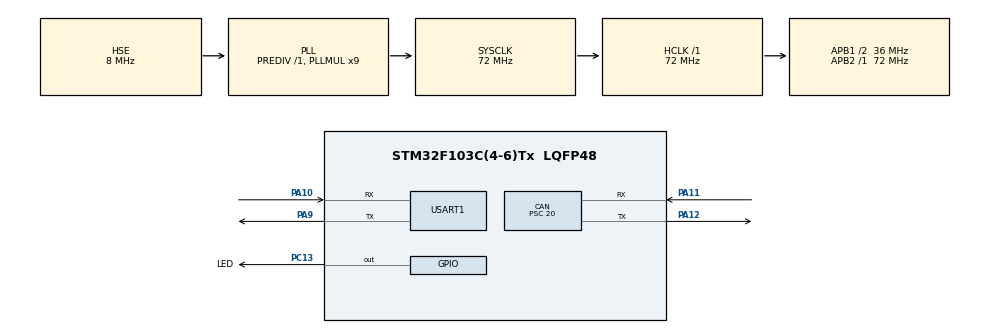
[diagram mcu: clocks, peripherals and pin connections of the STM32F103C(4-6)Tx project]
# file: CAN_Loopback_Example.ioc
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CAN.ABOM=ENABLE
CAN.BS1=CAN_BS1_14TQ
CAN.BS2=CAN_BS2_1TQ
CAN.CalculateBaudRate=112500
CAN.CalculateTimeBit=8888
CAN.CalculateTimeQuantum=555.5555555555555
CAN.Mode=CAN_MODE_NORMAL
CAN.Prescaler=20
Mcu.Family=STM32F1
Mcu.Name=STM32F103C(4-6)Tx
Mcu.Package=LQFP48
NVIC.CAN1_RX1_IRQn=true\:0\:0\:false\:false\:true\:true\:true\:true
NVIC.PriorityGroup=NVIC_PRIORITYGROUP_4
NVIC.TIM2_IRQn=true\:0\:0\:false\:false\:true\:true\:true\:true
NVIC.USART1_IRQn=true\:0\:0\:false\:false\:true\:true\:true\:true
NVIC.USB_LP_CAN1_RX0_IRQn=true\:0\:0\:false\:false\:true\:true\:true\:true
PA10.Mode=Asynchronous
PA10.Signal=USART1_RX
PA11.Mode=CAN_Activate
PA11.Signal=CAN_RX
PA12.Mode=CAN_Activate
PA12.Signal=CAN_TX
PA13.Mode=Serial_Wire
PA13.Signal=SYS_JTMS-SWDIO
PA14.Mode=Serial_Wire
PA14.Signal=SYS_JTCK-SWCLK
PA9.Mode=Asynchronous
PA9.Signal=USART1_TX
PC13-TAMPER-RTC.GPIO_Label=LED
PC13-TAMPER-RTC.Signal=GPIO_Output
PD0-OSC_IN.Mode=HSE-External-Oscillator
PD0-OSC_IN.Signal=RCC_OSC_IN
PD1-OSC_OUT.Mode=HSE-External-Oscillator
PD1-OSC_OUT.Signal=RCC_OSC_OUT
ProjectManager.HeapSize=0x200
ProjectManager.StackSize=0x400
ProjectManager.TargetToolchain=STM32CubeIDE
RCC.AHBFreq_Value=72000000
RCC.APB1CLKDivider=RCC_HCLK_DIV2
RCC.APB1Freq_Value=36000000
RCC.APB1TimFreq_Value=72000000
RCC.APB2Freq_Value=72000000
RCC.APB2TimFreq_Value=72000000
RCC.HCLKFreq_Value=72000000
RCC.PLLMUL=RCC_PLL_MUL9
RCC.PLLSourceVirtual=RCC_PLLSOURCE_HSE
RCC.SYSCLKFreq_VALUE=72000000
RCC.SYSCLKSource=RCC_SYSCLKSOURCE_PLLCLK
RCC.USBFreq_Value=48000000
RCC.USBPrescaler=RCC_USBCLKSOURCE_PLL_DIV1_5
TIM2.AutoReloadPreload=TIM_AUTORELOAD_PRELOAD_ENABLE
TIM2.Period=3600-1
TIM2.Prescaler=1000-1
TIM2.TIM_MasterOutputTrigger=TIM_TRGO_RESET
USART1.VirtualMode=VM_ASYNC
VP_TIM2_VS_ClockSourceINT.Mode=Internal
board=custom

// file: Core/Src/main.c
/* USER CODE BEGIN Header */
/**
  ******************************************************************************
  * @file           : main.c
  * @brief          : Main program body
  ******************************************************************************
  * @attention
  *
  * Copyright (c) 2023 STMicroelectronics.
  * All rights reserved.
  *
  * This software is licensed under terms that can be found in the LICENSE file
  * in the root directory of this software component.
  * If no LICENSE file comes with this software, it is provided AS-IS.
  *
  ******************************************************************************
  */
/* USER CODE END Header */
#include "main.h"

/* USER CODE BEGIN Includes */
#include <stdio.h>
#include <stdlib.h>
#include <string.h>

/* USER CODE END Includes */

CAN_HandleTypeDef hcan;

TIM_HandleTypeDef htim2;

UART_HandleTypeDef huart1;

/* USER CODE BEGIN PV */
//const float slope1 = 0.0476;
const float slope1 = 0.2343;
const float slope2 = 0.0472;
const float slope3 = 0.0470;
const float slope4 = 0.0467;
const float slope5 = 1;
const float slope6 = 1;
const float slope7 = 1;
const float slope8 = 1;

//const float offset1 = -126.46;
const float offset1 = -636.22;
const float offset2 = -127.09;
const float offset3 = -124.65;
const float offset4 = -131.54;
const float offset5 = 0;
const float offset6 = 0;
const float offset7 = 0;
const float offset8 = 0;

/* USER CODE END PV */

void SystemClock_Config(void);
static void MX_GPIO_Init(void);
static void MX_CAN_Init(void);
static void MX_USART1_UART_Init(void);
static void MX_TIM2_Init(void);
/* USER CODE BEGIN PFP */
void HAL_CAN_RxFifo0MsgPendingCallback(CAN_HandleTypeDef *hcan);
void HAL_UART_RxCpltCallback(UART_HandleTypeDef *huart);
void HAL_TIM_PeriodElapsedCallback(TIM_HandleTypeDef* htim);

/* USER CODE END PFP */

/* USER CODE BEGIN 0 */
//Control Flags
uint8_t CanMsgInFlag = RESET;
uint8_t CanDataFlag1 = RESET;
uint8_t CanDataFlag2 = RESET;

uint8_t CanDataRqFlag = RESET;

uint8_t usartDataInFlag = RESET;

//CAN MSG Buffers
CAN_TxHeaderTypeDef TxHeader;
CAN_TxHeaderTypeDef TxHeaderData;

CAN_RxHeaderTypeDef RxHeader;

uint32_t TxMailbox;

uint8_t TxData[8]= {0};
uint8_t RxData[8] = {0};

uint8_t count = 0;

//USART Buffers
//Transmission Buffer
uint8_t usartBuff[64]= {'\0'};
uint8_t usartRxBuff[64]= {'\0'};
//Processing Buffers
uint16_t dataBuff1[4];
int16_t *signedBuff1 = dataBuff1;
uint16_t dataBuff2[4];
uint8_t dataPrep[8];
uint8_t emptyFrame[8];

// Safety timeout
uint16_t timCount = 0;

/* USER CODE END 0 */

int main(void)
{

  /* MCU Configuration--------------------------------------------------------*/

  /* Reset of all peripherals, Initializes the Flash interface and the Systick. */
  HAL_Init();

  /* Configure the system clock */
  SystemClock_Config();

  /* Initialize all configured peripherals */
  MX_GPIO_Init();
  MX_CAN_Init();
  MX_USART1_UART_Init();
  MX_TIM2_Init();
  /* USER CODE BEGIN 2 */

  //start timer request interrupt
  HAL_TIM_Base_Start_IT(&htim2);

  //Start the CAN peripheral
  HAL_CAN_Start(&hcan);

  //Start notification and set to interrupt on pending message
  HAL_CAN_ActivateNotification(&hcan, CAN_IT_RX_FIFO0_MSG_PENDING);

  //Set Arbitration and COntrol Fields of the TxField
  TxHeader.DLC = 8; 			//Specify length of data being sent (here 8 bytes)
  TxHeader.ExtId = 0; 			//Not using Extended ID
  TxHeader.IDE = CAN_ID_STD;	//Specify identifier type: std or extended (Here std)
  TxHeader.RTR = CAN_RTR_DATA; 	//Specify if sending data or remote frame (here data)
  TxHeader.StdId = 0x103; 		//ID for the CAN peripheral used for filtering (up to 11bit wide)
  TxHeader.TransmitGlobalTime = DISABLE; //Not used

  //Set Arbitration and COntrol Fields of the TxField
  TxHeaderData.DLC = 0; 			//Specify length of data being sent (here 8 bytes)
  TxHeaderData.ExtId = 0; 			//Not using Extended ID
  TxHeaderData.IDE = CAN_ID_STD;	//Specify identifier type: std or extended (Here std)
  TxHeaderData.RTR = CAN_RTR_DATA; 	//Specify if sending data or remote frame (here data)
  TxHeaderData.StdId = 0x070; 		//ID for the CAN peripheral used for filtering (up to 11bit wide)
  TxHeaderData.TransmitGlobalTime = DISABLE; //Not used

  //Data to send via CAN
  /*
  dataBuff[0] = 1;
  dataBuff[1] = 22;
  dataBuff[2] = 333;
  dataBuff[3] = 4095;

  memcpy(TxData, dataBuff, 8);
	*/
  //Start UART Interrupt
  HAL_UART_Receive_IT(&huart1, usartRxBuff, 9);

  /* USER CODE END 2 */

  /* Infinite loop */
  /* USER CODE BEGIN WHILE */
  HAL_GPIO_WritePin(GPIOC, GPIO_PIN_13, SET);
  while (1)
  {
	//send the message (Should be received in the RxFifo0)
	if(usartDataInFlag){
		for(uint8_t i = 0; i<8; i++){
//			if(usartRxBuff[i]>='1' && usartRxBuff[i] <= '9') {
//				TxData[i] = (uint8_t) (usartRxBuff[i]-'0');
//			}
//			else {TxData[i] = 0;}
			TxData[i] = usartRxBuff[i]; // NF 11/16
		}

		HAL_CAN_AddTxMessage(&hcan, &TxHeader, TxData, &TxMailbox);
		usartDataInFlag = RESET;
		//clean up
		memset(usartRxBuff,'\0', 16);
		HAL_UART_Receive_IT(&huart1, usartRxBuff, 9);
	}
	if(CanMsgInFlag){
		//sprintf((char *)&usartBuff, "Toggle PIN%d %d\n", (int)dataPrep[0], (int)dataPrep[1]);
		sprintf((char * ) &usartBuff, "PS%i%i%i%i%i%i%i%i%i\n",
			  (int) (dataPrep[0] & (0x1 << 0)),
			  (int) (dataPrep[0] & (0x1 << 1)),
			  (int) (dataPrep[1]),
			  (int) (dataPrep[2]),
			  (int) (dataPrep[3]),
			  (int) (dataPrep[4]),
			  (int) (dataPrep[5]),
			  (int) (dataPrep[6]),
			  (int) (dataPrep[7])
		);
		HAL_UART_Transmit(&huart1, (unsigned char *)usartBuff, strlen((char *)usartBuff), HAL_MAX_DELAY);
		memset((char *)usartBuff, '\0', strlen((char *)usartBuff));
		CanMsgInFlag = RESET;
		timCount = 0;
	}
	/*sprintf((char *)&usartBuff, "%d %d %d %d %d\n", CanMsgInFlag, CanDataFlag1, CanDataFlag2, CanDataRqFlag, usartDataInFlag);
	HAL_UART_Transmit(&huart1, (unsigned char *)usartBuff, strlen((char *)usartBuff), HAL_MAX_DELAY);

	memset((char *)usartBuff, '\0', strlen((char *)usartBuff));
	*/
	if(CanDataFlag1 && CanDataFlag2){

			sprintf((char *)&usartBuff, "%4i, %4i, %4i, %4i, %4i, %4i, %4i, %4i\n", (int)(slope1 * (float)signedBuff1[0] + offset1),(int)(slope2 * (float)signedBuff1[1]+offset2),(int)(slope3 * (float)signedBuff1[2]+offset3),(int)(slope4* (float)signedBuff1[3] + offset4), (int)(slope5 * dataBuff2[0]+ offset5),(int)(slope6 *dataBuff2[1] + offset6),(int)(slope7 * dataBuff2[2] +offset7),(int)(slope8 * dataBuff2[3]+offset8));
			HAL_UART_Transmit(&huart1, (unsigned char *)usartBuff, strlen((char *)usartBuff), HAL_MAX_DELAY);
			memset((char *)usartBuff, '\0', strlen((char *)usartBuff));
			CanDataFlag1 = RESET;
			CanDataFlag2 = RESET;

			HAL_GPIO_TogglePin(GPIOC, GPIO_PIN_13);
	}
	if(CanDataRqFlag) {

		HAL_CAN_AddTxMessage(&hcan, &TxHeaderData, emptyFrame, &TxMailbox);

		CanDataRqFlag = RESET;

	}

	if (timCount > 60000) {

		NVIC_SystemReset();
	}

    /* USER CODE END WHILE */

  }
}

void SystemClock_Config(void)
{
  RCC_OscInitTypeDef RCC_OscInitStruct = {0};
  RCC_ClkInitTypeDef RCC_ClkInitStruct = {0};

  /** Initializes the RCC Oscillators according to the specified parameters
  * in the RCC_OscInitTypeDef structure.
  */
  RCC_OscInitStruct.OscillatorType = RCC_OSCILLATORTYPE_HSE;
  RCC_OscInitStruct.HSEState = RCC_HSE_ON;
  RCC_OscInitStruct.HSEPredivValue = RCC_HSE_PREDIV_DIV1;
  RCC_OscInitStruct.HSIState = RCC_HSI_ON;
  RCC_OscInitStruct.PLL.PLLState = RCC_PLL_ON;
  RCC_OscInitStruct.PLL.PLLSource = RCC_PLLSOURCE_HSE;
  RCC_OscInitStruct.PLL.PLLMUL = RCC_PLL_MUL9;
  if (HAL_RCC_OscConfig(&RCC_OscInitStruct) != HAL_OK)
  {
    Error_Handler();
  }

  /** Initializes the CPU, AHB and APB buses clocks
  */
  RCC_ClkInitStruct.ClockType = RCC_CLOCKTYPE_HCLK|RCC_CLOCKTYPE_SYSCLK
                              |RCC_CLOCKTYPE_PCLK1|RCC_CLOCKTYPE_PCLK2;
  RCC_ClkInitStruct.SYSCLKSource = RCC_SYSCLKSOURCE_PLLCLK;
  RCC_ClkInitStruct.AHBCLKDivider = RCC_SYSCLK_DIV1;
  RCC_ClkInitStruct.APB1CLKDivider = RCC_HCLK_DIV2;
  RCC_ClkInitStruct.APB2CLKDivider = RCC_HCLK_DIV1;

  if (HAL_RCC_ClockConfig(&RCC_ClkInitStruct, FLASH_LATENCY_2) != HAL_OK)
  {
    Error_Handler();
  }
}

static void MX_CAN_Init(void)
{

  hcan.Instance = CAN1;
  hcan.Init.Prescaler = 20;
  hcan.Init.Mode = CAN_MODE_NORMAL;
  hcan.Init.SyncJumpWidth = CAN_SJW_1TQ;
  hcan.Init.TimeSeg1 = CAN_BS1_14TQ;
  hcan.Init.TimeSeg2 = CAN_BS2_1TQ;
  hcan.Init.TimeTriggeredMode = DISABLE;
  hcan.Init.AutoBusOff = ENABLE;
  hcan.Init.AutoWakeUp = DISABLE;
  hcan.Init.AutoRetransmission = DISABLE;
  hcan.Init.ReceiveFifoLocked = DISABLE;
  hcan.Init.TransmitFifoPriority = DISABLE;
  if (HAL_CAN_Init(&hcan) != HAL_OK)
  {
    Error_Handler();
  }
  /* USER CODE BEGIN CAN_Init 2 */

  //create a CAN filter config typdef struct
  CAN_FilterTypeDef canfilterconfig;

  //Set the CAN filter typedef elements
  canfilterconfig.FilterActivation = CAN_FILTER_ENABLE;	//Enable or Disable Filters
  canfilterconfig.FilterBank = 10;						//Specify which Filter bank to use
  canfilterconfig.FilterFIFOAssignment = CAN_RX_FIFO0;
  canfilterconfig.FilterIdHigh = 0x100<<5;
  canfilterconfig.FilterIdLow = 0x0000;
  canfilterconfig.FilterMaskIdHigh = 0x100<<5;
  canfilterconfig.FilterMaskIdLow = 0x0000;
  canfilterconfig.FilterMode = CAN_FILTERMODE_IDMASK;
  canfilterconfig.FilterScale = CAN_FILTERSCALE_32BIT;
  canfilterconfig.SlaveStartFilterBank = 0;				//Decides which bank belongs to slave CAN (useless as there is no CAN)

  //Call CAN Filter Configuration function
  HAL_CAN_ConfigFilter(&hcan, &canfilterconfig);

  /* USER CODE END CAN_Init 2 */

}

static void MX_TIM2_Init(void)
{

  TIM_ClockConfigTypeDef sClockSourceConfig = {0};
  TIM_MasterConfigTypeDef sMasterConfig = {0};

  htim2.Instance = TIM2;
  htim2.Init.Prescaler = 1000-1;
  htim2.Init.CounterMode = TIM_COUNTERMODE_UP;
  htim2.Init.Period = 3600-1;
  htim2.Init.ClockDivision = TIM_CLOCKDIVISION_DIV1;
  htim2.Init.AutoReloadPreload = TIM_AUTORELOAD_PRELOAD_ENABLE;
  if (HAL_TIM_Base_Init(&htim2) != HAL_OK)
  {
    Error_Handler();
  }
  sClockSourceConfig.ClockSource = TIM_CLOCKSOURCE_INTERNAL;
  if (HAL_TIM_ConfigClockSource(&htim2, &sClockSourceConfig) != HAL_OK)
  {
    Error_Handler();
  }
  sMasterConfig.MasterOutputTrigger = TIM_TRGO_RESET;
  sMasterConfig.MasterSlaveMode = TIM_MASTERSLAVEMODE_DISABLE;
  if (HAL_TIMEx_MasterConfigSynchronization(&htim2, &sMasterConfig) != HAL_OK)
  {
    Error_Handler();
  }

}

static void MX_USART1_UART_Init(void)
{

  huart1.Instance = USART1;
  huart1.Init.BaudRate = 115200;
  huart1.Init.WordLength = UART_WORDLENGTH_8B;
  huart1.Init.StopBits = UART_STOPBITS_1;
  huart1.Init.Parity = UART_PARITY_NONE;
  huart1.Init.Mode = UART_MODE_TX_RX;
  huart1.Init.HwFlowCtl = UART_HWCONTROL_NONE;
  huart1.Init.OverSampling = UART_OVERSAMPLING_16;
  if (HAL_UART_Init(&huart1) != HAL_OK)
  {
    Error_Handler();
  }

}

static void MX_GPIO_Init(void)
{
  GPIO_InitTypeDef GPIO_InitStruct = {0};

  /* GPIO Ports Clock Enable */
  __HAL_RCC_GPIOC_CLK_ENABLE();
  __HAL_RCC_GPIOD_CLK_ENABLE();
  __HAL_RCC_GPIOA_CLK_ENABLE();

  /*Configure GPIO pin Output Level */
  HAL_GPIO_WritePin(LED_GPIO_Port, LED_Pin, GPIO_PIN_RESET);

  /*Configure GPIO pin : LED_Pin */
  GPIO_InitStruct.Pin = LED_Pin;
  GPIO_InitStruct.Mode = GPIO_MODE_OUTPUT_PP;
  GPIO_InitStruct.Pull = GPIO_NOPULL;
  GPIO_InitStruct.Speed = GPIO_SPEED_FREQ_LOW;
  HAL_GPIO_Init(LED_GPIO_Port, &GPIO_InitStruct);

}

/* USER CODE BEGIN 4 */

void HAL_SYSTICK_Callback(void) {

	timCount++;
}

void HAL_CAN_RxFifo0MsgPendingCallback(CAN_HandleTypeDef *hcan) {
	HAL_CAN_GetRxMessage(hcan, CAN_RX_FIFO0, &RxHeader, RxData);
	if(RxHeader.StdId == 0x132) {
		memcpy(dataPrep, RxData, 8);
		CanMsgInFlag =SET;
	}else if(RxHeader.StdId == 0x171){
		memcpy(dataBuff1, RxData, 8);
		CanDataFlag1 =SET;

	}else if(RxHeader.StdId == 0x172){
		memcpy(dataBuff2, RxData, 8);
		CanDataFlag2 =SET;

	}

}

void HAL_UART_RxCpltCallback(UART_HandleTypeDef *huart) {
	usartDataInFlag = SET;

}

void HAL_TIM_PeriodElapsedCallback(TIM_HandleTypeDef* htim) {
	CanDataRqFlag = SET;

}
/* USER CODE END 4 */

void Error_Handler(void)
{
  __disable_irq();
  while (1)
  {
  }
}
